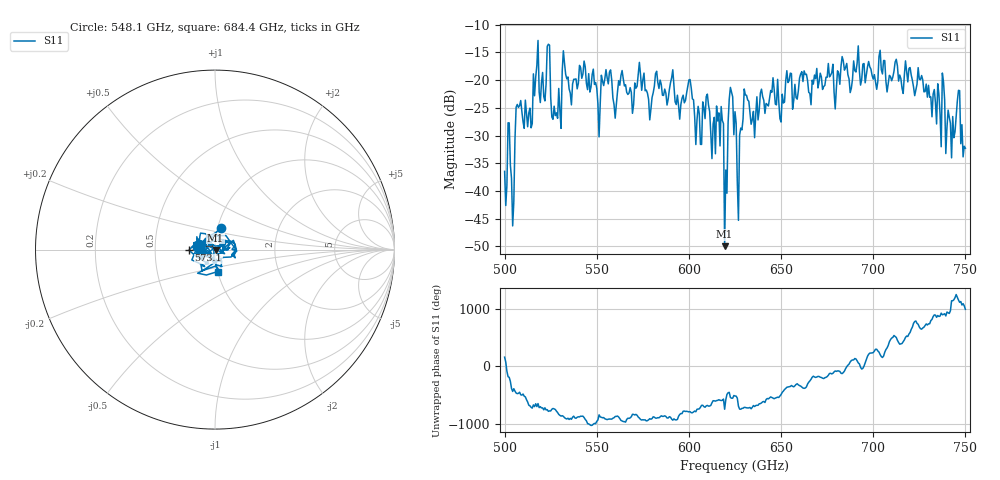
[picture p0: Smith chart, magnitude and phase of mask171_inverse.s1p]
!Created with skrf (http://scikit-rf.org).
# GHz S MA R 50.0
!freq magS11 angS11
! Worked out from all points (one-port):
!   401 points, 500 GHz to 750 GHz, reference 50 ohm
!   lowest |S11| = -50.0 dB at 619.4 GHz (marker M1), VSWR 1.01, Z = 50.3 - j0.138 ohm
!   |S11| at or under -10 dB: start of sweep to end of sweep
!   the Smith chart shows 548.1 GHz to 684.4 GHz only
!   S11 on the Smith chart (normalised r, x): 548.1 GHz: 1.03, +0.26; 573.1 GHz: 0.75, -0.01; 684.4 GHz: 1.00, -0.25
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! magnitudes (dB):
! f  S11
! 500 GHz  -36.5
! 502.5 GHz  -27.7
! 504.4 GHz  -46.3
! 507.5 GHz  -24.9
! 513.8 GHz  -25.0
! 516.9 GHz  -19.4
! 520.6 GHz  -18.6
! 523.8 GHz  -13.5
! 526.9 GHz  -24.7
! 531.2 GHz  -18.4
! 548.1 GHz  -18.0
! 562.5 GHz  -20.9
! 573.1 GHz  -16.8
! 593.8 GHz  -22.7
! 616.2 GHz  -25.9
! 619.4 GHz  -50.0
! 622.5 GHz  -21.3
! 625 GHz  -25.7
! 627.5 GHz  -29.9
! 631.2 GHz  -22.7
! 635 GHz  -25.6
! 656.2 GHz  -25.2
! 684.4 GHz  -18.2
! 687.5 GHz  -22.2
! 718.8 GHz  -20.3
! 743.1 GHz  -26.6
! 745.6 GHz  -23.8
! 750 GHz  -32.3
